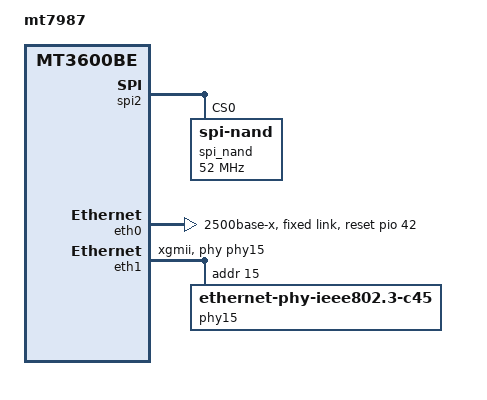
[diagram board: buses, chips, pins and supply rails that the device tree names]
// SPDX-License-Identifier: GPL-2.0
/*
 * GL.iNet GL-MT3600BE — U-Boot 硬件“胶水”（MTK U-Boot 约定：<board>-u-boot.dtsi）
 *
 * 参考：`mt7987a-rfb-u-boot.dtsi`（MTK 官方 MT7987 RFB）
 *
 * ★ 关键差异（本机实测）：
 *   闪存挂在 **SPIM2 / 0x11009800 / GPIO25-30**，而参考板挂在 SPIM0。
 *   实机 pinctrl 证据：
 *     pin 25 (SPI2_CLK) : device 11009800.spi function spi group spi2
 *     pin 15-20 (SPI0_*) : UNCLAIMED
 *   → ATF 侧也必须用 SPIM2（见 m2/README.md 的 SPIM2 补丁）。
 */

#include "mt7987a-u-boot.dtsi"
#include "mt7987-netsys-u-boot.dtsi"

/ {
	model = "mt7987";
	compatible = "mediatek,mt7987", "glinet,gl-mt3600be";

	bl2_verify {
		bl2_compatible = "spim-nand";
	};
};

/* SPI-NAND：SPIM2 + 4 线 + 52MHz（与内核 DTS 实机值一致） */
&spi2 {
	pinctrl-names = "default";
	pinctrl-0 = <&spi2_flash_pins>;
	#address-cells = <1>;
	#size-cells = <0>;
	status = "okay";
	must_tx;
	enhance_timing;
	dma_ext;
	ipm_design;
	support_quad;
	tick_dly = <2>;
	sample_sel = <0>;

	spi_nand@0 {
		compatible = "spi-nand";
		reg = <0>;
		spi-max-frequency = <52000000>;
		spi-rx-bus-width = <4>;
		spi-tx-bus-width = <4>;
	};
};

&spi0 {
	status = "disabled";
};

/* WAN（2.5G，外置 PHY：RTL8221B-VB-CG @ mdio7，复位 pio42）
 * 与参考板 RFB 的 eth0 接线一致（同为 2500base-x + pio42 复位），故照搬。
 * 若实机不亮链路，可改为 phy-handle = <&phy7> 走 Realtek 驱动（见 README 备注）。 */
&eth0 {
	status = "okay";
	pinctrl-names = "default";
	pinctrl-0 = <&mdio0_pins>;
	phy-mode = "2500base-x";
	mediatek,switch = "auto";
	reset-gpios = <&pio 42 GPIO_ACTIVE_HIGH>;

	fixed-link {
		speed = <2500>;
		full-duplex;
		pause;
	};
};

/* LAN（2.5G，MT7987 SoC 内置 i2p5gbe @ phy15） */
&eth1 {
	status = "okay";
	pinctrl-names = "i2p5gbe-led";
	pinctrl-0 = <&i2p5gbe_led0_pins>;
	phy-mode = "xgmii";
	phy-handle = <&phy15>;

	phy15: ethernet-phy@15 {
		compatible = "ethernet-phy-ieee802.3-c45";
		reg = <15>;
		phy-mode = "xgmii";
	};
};

/* 本机没有第三个网口 */
&eth2 {
	status = "disabled";
};
